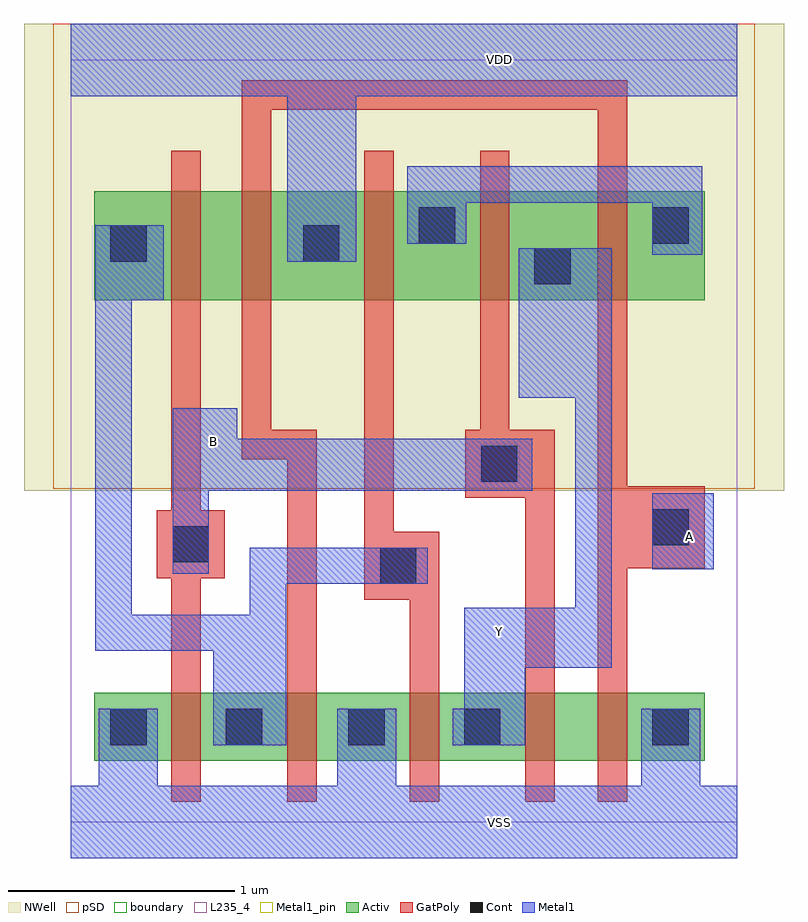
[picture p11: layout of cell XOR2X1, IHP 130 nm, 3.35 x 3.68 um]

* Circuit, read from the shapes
.subckt XOR2X1 A B VDD VSS Y
XM1 n1 B VSS VSUBS sg13_lv_nmos w=0.3u l=0.13u
XM2 VSS A n1 VSUBS sg13_lv_nmos w=0.3u l=0.13u
XM3 Y n1 VSS VSUBS sg13_lv_nmos w=0.3u l=0.13u
XM4 n2 B Y VSUBS sg13_lv_nmos w=0.3u l=0.13u
XM5 VSS A n2 VSUBS sg13_lv_nmos w=0.3u l=0.13u
XM6 n3 B n1 n4 sg13_lv_pmos w=0.48u l=0.13u
XM7 VDD A n3 n4 sg13_lv_pmos w=0.48u l=0.13u
XM8 n5 n1 VDD n4 sg13_lv_pmos w=0.48u l=0.13u
XM9 Y B n5 n4 sg13_lv_pmos w=0.48u l=0.13u
XM10 n5 A Y n4 sg13_lv_pmos w=0.48u l=0.13u
.ends

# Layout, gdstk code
import gdstk
lib = gdstk.Library(unit=1e-6, precision=1e-09)
def R(c, l, rs):  # rectangles x0, y0, x1, y1
    for r in rs: c.add(gdstk.rectangle(r[:2], r[2:], *l))
def P(c, l, *ps):  # polygons
    for p in ps: c.add(gdstk.Polygon(p, *l))
Activ = (1, 0)
GatPoly = (5, 0)
Cont = (6, 0)
Metal1 = (8, 0)
Metal1_pin = (8, 2)
pSD = (14, 0)
NWell = (31, 0)
boundary = (189, 4)
L235_4 = (235, 4)

xor2x1 = lib.new_cell('XOR2X1')
R(xor2x1, Activ, [(0.105,0.27,2.795,0.57), (0.105,2.3,2.795,2.78)])
P(xor2x1, GatPoly, [(0.955,0.09),(0.955,1.6),(0.755,1.6),(0.755,3.27),(2.455,3.27),(2.455,1.48),(2.795,1.48),(2.795,1.12),(2.455,1.12),(2.455,0.09),(2.325,0.09),(2.325,3.14),(0.885,3.14),(0.885,1.73),(1.085,1.73),(1.085,0.09)],
  [(2.005,0.09),(2.005,1.43),(1.74,1.43),(1.74,1.73),(1.805,1.73),(1.805,2.96),(1.935,2.96),(1.935,1.73),(2.135,1.73),(2.135,0.09)],
  [(1.495,0.09),(1.495,0.98),(1.295,0.98),(1.295,2.96),(1.425,2.96),(1.425,1.28),(1.625,1.28),(1.625,0.09)],
  [(0.445,0.09),(0.445,1.075),(0.38,1.075),(0.38,1.375),(0.445,1.375),(0.445,2.96),(0.575,2.96),(0.575,1.375),(0.68,1.375),(0.68,1.075),(0.575,1.075),(0.575,0.09)])
R(xor2x1, Cont, [(0.175,0.34,0.335,0.5), (0.685,0.34,0.845,0.5), (1.225,0.34,1.385,0.5), (1.735,0.34,1.895,0.5), (2.565,0.34,2.725,0.5), (1.365,1.05,1.525,1.21), (0.45,1.145,0.61,1.305), (2.565,1.22,2.725,1.38), (1.81,1.5,1.97,1.66), (2.045,2.37,2.205,2.53), (0.175,2.47,0.335,2.63), (1.025,2.47,1.185,2.63), (1.535,2.55,1.695,2.71), (2.565,2.55,2.725,2.71)])
R(xor2x1, Metal1, [(2.565,1.115,2.835,1.45)])
P(xor2x1, Metal1, [(0,-0.16),(0,0.16),(0.125,0.16),(0.125,0.5),(0.385,0.5),(0.385,0.16),(1.175,0.16),(1.175,0.5),(1.435,0.5),(1.435,0.16),(2.515,0.16),(2.515,0.5),(2.775,0.5),(2.775,0.16),(2.94,0.16),(2.94,-0.16)],
  [(0.955,2.47),(0.955,3.2),(0,3.2),(0,3.52),(2.94,3.52),(2.94,3.2),(1.26,3.2),(1.26,2.47)],
  [(2.565,2.5),(2.565,2.73),(1.745,2.73),(1.745,2.55),(1.485,2.55),(1.485,2.89),(2.785,2.89),(2.785,2.5)],
  [(1.685,0.34),(1.685,0.5),(1.735,0.5),(1.735,0.945),(2.225,0.945),(2.225,1.87),(1.975,1.87),(1.975,2.53),(2.385,2.53),(2.385,0.68),(2.005,0.68),(2.005,0.34)],
  [(0.45,1.095),(0.45,1.825),(0.735,1.825),(0.735,1.69),(2.035,1.69),(2.035,1.46),(0.61,1.46),(0.61,1.095)],
  [(0.63,0.34),(0.63,0.755),(0.11,0.755),(0.11,2.63),(0.41,2.63),(0.41,2.3),(0.27,2.3),(0.27,0.915),(0.79,0.915),(0.79,1.21),(1.575,1.21),(1.575,1.05),(0.95,1.05),(0.95,0.34)])
R(xor2x1, Metal1_pin, [(2.565,1.115,2.835,1.45)])
P(xor2x1, Metal1_pin, [(0,-0.16),(0,0.16),(0.125,0.16),(0.125,0.5),(0.385,0.5),(0.385,0.16),(1.175,0.16),(1.175,0.5),(1.435,0.5),(1.435,0.16),(2.515,0.16),(2.515,0.5),(2.775,0.5),(2.775,0.16),(2.94,0.16),(2.94,-0.16)],
  [(0.955,2.47),(0.955,3.2),(0,3.2),(0,3.52),(2.94,3.52),(2.94,3.2),(1.26,3.2),(1.26,2.47)],
  [(1.685,0.34),(1.685,0.5),(1.735,0.5),(1.735,0.945),(2.225,0.945),(2.225,1.87),(1.975,1.87),(1.975,2.53),(2.385,2.53),(2.385,0.68),(2.005,0.68),(2.005,0.34)],
  [(0.45,1.095),(0.45,1.825),(0.735,1.825),(0.735,1.69),(2.035,1.69),(2.035,1.46),(0.61,1.46),(0.61,1.095)])
R(xor2x1, pSD, [(-0.075,1.47,3.015,3.52)])
R(xor2x1, NWell, [(-0.205,1.46,3.145,3.52)])
R(xor2x1, boundary, [(0,0,2.94,3.36)])
R(xor2x1, L235_4, [(0,0,2.94,3.36)])
xor2x1.add(gdstk.Label('A', (2.73,1.26), layer=8, texttype=25))
xor2x1.add(gdstk.Label('B', (0.63,1.68), layer=8, texttype=25))
xor2x1.add(gdstk.Label('Y', (1.89,0.84), layer=8, texttype=25))
xor2x1.add(gdstk.Label('VDD', (1.89,3.36), layer=8, texttype=25))
xor2x1.add(gdstk.Label('VSS', (1.89,0), layer=8, texttype=25))

lib.write_gds('XOR2X1.gds')
